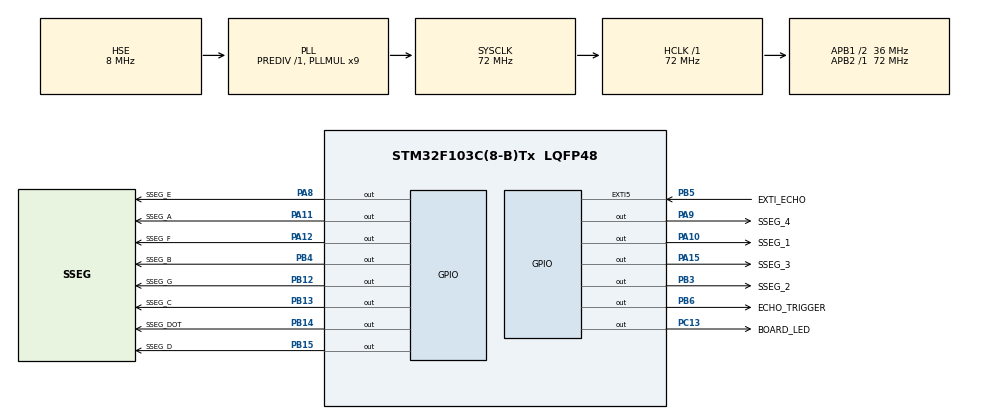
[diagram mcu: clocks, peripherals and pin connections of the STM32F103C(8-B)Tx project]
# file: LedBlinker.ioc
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FREERTOS.Tasks01=defaultTask,0,128,StartDefaultTask,Default,NULL,Dynamic,NULL,NULL
FREERTOS.configUSE_NEWLIB_REENTRANT=1
Mcu.Family=STM32F1
Mcu.Name=STM32F103C(8-B)Tx
Mcu.Package=LQFP48
NVIC.EXTI9_5_IRQn=true\:5\:0\:false\:false\:true\:true\:true\:true\:true
NVIC.PriorityGroup=NVIC_PRIORITYGROUP_4
NVIC.TIM2_IRQn=true\:5\:0\:false\:false\:true\:true\:true\:true\:true
NVIC.TimeBase=TIM1_UP_IRQn
NVIC.TimeBaseIP=TIM1
PA10.GPIO_Label=SSEG_1
PA10.Signal=GPIO_Output
PA11.GPIO_Label=SSEG_A
PA11.Signal=GPIO_Output
PA12.GPIO_Label=SSEG_F
PA12.Signal=GPIO_Output
PA13.GPIO_Label=SYS_JTMS-SWDIO
PA13.Mode=Serial_Wire
PA13.Signal=SYS_JTMS-SWDIO
PA14.Mode=Serial_Wire
PA14.Signal=SYS_JTCK-SWCLK
PA15.GPIO_Label=SSEG_3
PA15.Signal=GPIO_Output
PA8.GPIO_Label=SSEG_E
PA8.Signal=GPIO_Output
PA9.GPIO_Label=SSEG_4
PA9.Signal=GPIO_Output
PB12.GPIO_Label=SSEG_G
PB12.Signal=GPIO_Output
PB13.GPIO_Label=SSEG_C
PB13.Signal=GPIO_Output
PB14.GPIO_Label=SSEG_DOT
PB14.Signal=GPIO_Output
PB15.GPIO_Label=SSEG_D
PB15.Signal=GPIO_Output
PB3.GPIO_Label=SSEG_2
PB3.Signal=GPIO_Output
PB4.GPIO_Label=SSEG_B
PB4.Signal=GPIO_Output
PB5.GPIO_Label=EXTI_ECHO
PB5.GPIO_ModeDefaultEXTI=GPIO_MODE_IT_RISING_FALLING
PB5.Signal=GPXTI5
PB6.GPIO_Label=ECHO_TRIGGER
PB6.Signal=GPIO_Output
PC13-TAMPER-RTC.GPIO_Label=BOARD_LED
PC13-TAMPER-RTC.Signal=GPIO_Output
PC14-OSC32_IN.Mode=LSE-External-Oscillator
PC14-OSC32_IN.Signal=RCC_OSC32_IN
PC15-OSC32_OUT.Mode=LSE-External-Oscillator
PC15-OSC32_OUT.Signal=RCC_OSC32_OUT
PD0-OSC_IN.Mode=HSE-External-Oscillator
PD0-OSC_IN.Signal=RCC_OSC_IN
PD1-OSC_OUT.Mode=HSE-External-Oscillator
PD1-OSC_OUT.Signal=RCC_OSC_OUT
ProjectManager.HeapSize=0x200
ProjectManager.StackSize=0x400
ProjectManager.TargetToolchain=STM32CubeIDE
RCC.AHBFreq_Value=72000000
RCC.APB1CLKDivider=RCC_HCLK_DIV2
RCC.APB1Freq_Value=36000000
RCC.APB1TimFreq_Value=72000000
RCC.APB2Freq_Value=72000000
RCC.APB2TimFreq_Value=72000000
RCC.HCLKFreq_Value=72000000
RCC.PLLMUL=RCC_PLL_MUL9
RCC.PLLSourceVirtual=RCC_PLLSOURCE_HSE
RCC.RTCClockSelection=RCC_RTCCLKSOURCE_LSE
RCC.SYSCLKFreq_VALUE=72000000
RCC.SYSCLKSource=RCC_SYSCLKSOURCE_PLLCLK
RCC.USBFreq_Value=72000000
VP_FREERTOS_VS_CMSIS_V1.Mode=CMSIS_V1
VP_RTC_No_RTC_Output.Mode=RTC_OUT_NO
VP_RTC_VS_RTC_Activate.Mode=RTC_Enabled
VP_SYS_VS_tim1.Mode=TIM1
VP_TIM2_VS_ClockSourceINT.Mode=Internal
VP_TIM2_VS_OPM.Mode=OPM_bit
board=custom

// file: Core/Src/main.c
/* USER CODE BEGIN Header */
/**
  ******************************************************************************
  * @file           : main.c
  * @brief          : Main program body
  ******************************************************************************
  * @attention
  *
  * Copyright (c) 2023 STMicroelectronics.
  * All rights reserved.
  *
  * This software is licensed under terms that can be found in the LICENSE file
  * in the root directory of this software component.
  * If no LICENSE file comes with this software, it is provided AS-IS.
  *
  ******************************************************************************
  */
/* USER CODE END Header */
#include "main.h"
#include "cmsis_os.h"
#include "math.h"

RTC_HandleTypeDef hrtc;

TIM_HandleTypeDef htim2;

osThreadId defaultTaskHandle;

void SystemClock_Config(void);
static void MX_GPIO_Init(void);
static void MX_RTC_Init(void);
static void MX_TIM2_Init(void);
void StartDefaultTask(void const * argument);

/* USER CODE BEGIN 0 */
enum segments
{
	segA,
	segB,
	segC,
	segD,
	segE,
	segF,
	segG,
	segP
};

uint32_t echoCounter = 0;

uint8_t SnakeAnimationArray [] = {
	0b01000011,
	0b01010010,
	0b01011000,
	0b00011100,
	0b01001100,
	0b01100100,
	0b01100001,
};

uint8_t SsegNumbersArray [] = {
	0b00111111, // 0
	0b00000110, // 1
	0b01011011, // 2
	0b01001111, // 3
	0b01100110, // 4
	0b01101101, // 5
	0b01111101, // 6
	0b00000111, // 7
	0b01111111, // 8
	0b01101111, // 9
};

uint8_t currentFrame [4] = {0, 0, 0, 0};

void SetSegment (uint8_t numOfSegment, GPIO_PinState state)
{
	GPIO_PinState pinAction;
	if (state == 0)
	{
		pinAction = GPIO_PIN_RESET;
	}
	else
	{
		pinAction = GPIO_PIN_SET;
	}

	switch (numOfSegment)
	{
		case 1:
			HAL_GPIO_WritePin(SSEG_A_GPIO_Port, SSEG_A_Pin, pinAction);
			break;
		case 2:
			HAL_GPIO_WritePin(SSEG_B_GPIO_Port, SSEG_B_Pin, pinAction);
			break;
		case 3:
			HAL_GPIO_WritePin(SSEG_C_GPIO_Port, SSEG_C_Pin, pinAction);
			break;
		case 4:
			HAL_GPIO_WritePin(SSEG_D_GPIO_Port, SSEG_D_Pin, pinAction);
			break;
		case 5:
			HAL_GPIO_WritePin(SSEG_E_GPIO_Port, SSEG_E_Pin, pinAction);
			break;
		case 6:
			HAL_GPIO_WritePin(SSEG_F_GPIO_Port, SSEG_F_Pin, pinAction);
			break;
		case 7:
			HAL_GPIO_WritePin(SSEG_G_GPIO_Port, SSEG_G_Pin, pinAction);
			break;
		case 8:
			HAL_GPIO_WritePin(SSEG_DOT_GPIO_Port, SSEG_DOT_Pin, pinAction);
			break;
		default:
			break;
	}
}

void SetFrame (uint8_t frameNum, uint8_t frame)
{
  HAL_GPIO_WritePin(SSEG_1_GPIO_Port, SSEG_1_Pin, 1);
  HAL_GPIO_WritePin(SSEG_2_GPIO_Port, SSEG_2_Pin, 1);
  HAL_GPIO_WritePin(SSEG_3_GPIO_Port, SSEG_3_Pin, 1);
  HAL_GPIO_WritePin(SSEG_4_GPIO_Port, SSEG_4_Pin, 1);

   switch(frameNum)
   {
     case 0:
       HAL_GPIO_WritePin(SSEG_1_GPIO_Port, SSEG_1_Pin, 0);
       break;
     case 1:
       HAL_GPIO_WritePin(SSEG_2_GPIO_Port, SSEG_2_Pin, 0);
       break;
     case 2:
       HAL_GPIO_WritePin(SSEG_3_GPIO_Port, SSEG_3_Pin, 0);
       break;
     case 3:
       HAL_GPIO_WritePin(SSEG_4_GPIO_Port, SSEG_4_Pin, 0);
       break;
     default:
       break;
   }
	 for (uint8_t i = 0; i < 8; i++)
	 {
	 	SetSegment(8 - i, ((frame >> (7 - i)) & 0x01));
	 }
}

void ssegOutputTask (void* pvParameters)
{
  uint8_t Frame = 0;
	for(;;)
	{
    SetFrame(Frame, currentFrame[Frame]);
    Frame++;
    if (Frame == 4)
    {
    	Frame = 0;
    }

    vTaskDelay((3 / portTICK_PERIOD_MS));
	}
}

void framesUpdateTask (void* pvParameters)
{
	uint8_t numOfFrame = 0;
	for(;;)
	{
    uint32_t tmp = echoCounter;
    for(uint8_t i = 0; i < 4; i++)
    {
      currentFrame[i] = tmp % 10;
      tmp /= 10;
    }
    numOfFrame++;
    if (numOfFrame == sizeof(SsegNumbersArray))
    {
      numOfFrame = 0;
    }
		vTaskDelay((1000 / portTICK_PERIOD_MS));
	}
}

void HAL_GPIO_EXTI_Callback(uint16_t GPIO_Pin)
{
  if(HAL_GPIO_ReadPin(EXTI_ECHO_GPIO_Port, EXTI_ECHO_Pin))
  {
    __TIM2_CLK_ENABLE();
    TIM2 -> CNT = 0;
  }
  else
  {
    echoCounter = TIM2 -> CNT;
    TIM2 -> CNT = 0;
    __TIM2_CLK_DISABLE();
  }
}

/* USER CODE END 0 */

int main(void)
{

  /* MCU Configuration--------------------------------------------------------*/

  /* Reset of all peripherals, Initializes the Flash interface and the Systick. */
  HAL_Init();

  /* Configure the system clock */
  SystemClock_Config();

  /* Initialize all configured peripherals */
  MX_GPIO_Init();
  MX_RTC_Init();
  MX_TIM2_Init();

  /* Create the thread(s) */
  /* definition and creation of defaultTask */
  osThreadDef(defaultTask, StartDefaultTask, osPriorityNormal, 0, 128);
  defaultTaskHandle = osThreadCreate(osThread(defaultTask), NULL);

  /* USER CODE BEGIN RTOS_THREADS */
  xTaskCreate(ssegOutputTask, "LED", configMINIMAL_STACK_SIZE, NULL, 2, NULL);
  xTaskCreate(framesUpdateTask, "LED", configMINIMAL_STACK_SIZE, NULL, 2, NULL);
  /* add threads, ... */
  /* USER CODE END RTOS_THREADS */

  /* Start scheduler */
  SetFrame(1, 0xFF);
  osKernelStart();

  /* We should never get here as control is now taken by the scheduler */
  /* Infinite loop */
  while (1)
  {

  }
}

void SystemClock_Config(void)
{
  RCC_OscInitTypeDef RCC_OscInitStruct = {0};
  RCC_ClkInitTypeDef RCC_ClkInitStruct = {0};
  RCC_PeriphCLKInitTypeDef PeriphClkInit = {0};

  /** Initializes the RCC Oscillators according to the specified parameters
  * in the RCC_OscInitTypeDef structure.
  */
  RCC_OscInitStruct.OscillatorType = RCC_OSCILLATORTYPE_HSE|RCC_OSCILLATORTYPE_LSE;
  RCC_OscInitStruct.HSEState = RCC_HSE_ON;
  RCC_OscInitStruct.HSEPredivValue = RCC_HSE_PREDIV_DIV1;
  RCC_OscInitStruct.LSEState = RCC_LSE_ON;
  RCC_OscInitStruct.HSIState = RCC_HSI_ON;
  RCC_OscInitStruct.PLL.PLLState = RCC_PLL_ON;
  RCC_OscInitStruct.PLL.PLLSource = RCC_PLLSOURCE_HSE;
  RCC_OscInitStruct.PLL.PLLMUL = RCC_PLL_MUL9;
  if (HAL_RCC_OscConfig(&RCC_OscInitStruct) != HAL_OK)
  {
    Error_Handler();
  }

  /** Initializes the CPU, AHB and APB buses clocks
  */
  RCC_ClkInitStruct.ClockType = RCC_CLOCKTYPE_HCLK|RCC_CLOCKTYPE_SYSCLK
                              |RCC_CLOCKTYPE_PCLK1|RCC_CLOCKTYPE_PCLK2;
  RCC_ClkInitStruct.SYSCLKSource = RCC_SYSCLKSOURCE_PLLCLK;
  RCC_ClkInitStruct.AHBCLKDivider = RCC_SYSCLK_DIV1;
  RCC_ClkInitStruct.APB1CLKDivider = RCC_HCLK_DIV2;
  RCC_ClkInitStruct.APB2CLKDivider = RCC_HCLK_DIV1;

  if (HAL_RCC_ClockConfig(&RCC_ClkInitStruct, FLASH_LATENCY_2) != HAL_OK)
  {
    Error_Handler();
  }
  PeriphClkInit.PeriphClockSelection = RCC_PERIPHCLK_RTC;
  PeriphClkInit.RTCClockSelection = RCC_RTCCLKSOURCE_LSE;
  if (HAL_RCCEx_PeriphCLKConfig(&PeriphClkInit) != HAL_OK)
  {
    Error_Handler();
  }
}

static void MX_RTC_Init(void)
{

  RTC_TimeTypeDef sTime = {0};
  RTC_DateTypeDef DateToUpdate = {0};

  /** Initialize RTC Only
  */
  hrtc.Instance = RTC;
  hrtc.Init.AsynchPrediv = RTC_AUTO_1_SECOND;
  hrtc.Init.OutPut = RTC_OUTPUTSOURCE_NONE;
  if (HAL_RTC_Init(&hrtc) != HAL_OK)
  {
    Error_Handler();
  }

  /** Initialize RTC and set the Time and Date
  */
  sTime.Hours = 0x0;
  sTime.Minutes = 0x0;
  sTime.Seconds = 0x0;

  if (HAL_RTC_SetTime(&hrtc, &sTime, RTC_FORMAT_BCD) != HAL_OK)
  {
    Error_Handler();
  }
  DateToUpdate.WeekDay = RTC_WEEKDAY_MONDAY;
  DateToUpdate.Month = RTC_MONTH_JANUARY;
  DateToUpdate.Date = 0x1;
  DateToUpdate.Year = 0x0;

  if (HAL_RTC_SetDate(&hrtc, &DateToUpdate, RTC_FORMAT_BCD) != HAL_OK)
  {
    Error_Handler();
  }

}

static void MX_TIM2_Init(void)
{

  TIM_ClockConfigTypeDef sClockSourceConfig = {0};
  TIM_MasterConfigTypeDef sMasterConfig = {0};

  htim2.Instance = TIM2;
  htim2.Init.Prescaler = 0;
  htim2.Init.CounterMode = TIM_COUNTERMODE_UP;
  htim2.Init.Period = 65535;
  htim2.Init.ClockDivision = TIM_CLOCKDIVISION_DIV1;
  htim2.Init.AutoReloadPreload = TIM_AUTORELOAD_PRELOAD_DISABLE;
  if (HAL_TIM_Base_Init(&htim2) != HAL_OK)
  {
    Error_Handler();
  }
  sClockSourceConfig.ClockSource = TIM_CLOCKSOURCE_INTERNAL;
  if (HAL_TIM_ConfigClockSource(&htim2, &sClockSourceConfig) != HAL_OK)
  {
    Error_Handler();
  }
  if (HAL_TIM_OnePulse_Init(&htim2, TIM_OPMODE_SINGLE) != HAL_OK)
  {
    Error_Handler();
  }
  sMasterConfig.MasterOutputTrigger = TIM_TRGO_RESET;
  sMasterConfig.MasterSlaveMode = TIM_MASTERSLAVEMODE_DISABLE;
  if (HAL_TIMEx_MasterConfigSynchronization(&htim2, &sMasterConfig) != HAL_OK)
  {
    Error_Handler();
  }

}

static void MX_GPIO_Init(void)
{
  GPIO_InitTypeDef GPIO_InitStruct = {0};

  /* GPIO Ports Clock Enable */
  __HAL_RCC_GPIOC_CLK_ENABLE();
  __HAL_RCC_GPIOD_CLK_ENABLE();
  __HAL_RCC_GPIOB_CLK_ENABLE();
  __HAL_RCC_GPIOA_CLK_ENABLE();

  /*Configure GPIO pin Output Level */
  HAL_GPIO_WritePin(BOARD_LED_GPIO_Port, BOARD_LED_Pin, GPIO_PIN_RESET);

  /*Configure GPIO pin Output Level */
  HAL_GPIO_WritePin(GPIOB, SSEG_G_Pin|SSEG_C_Pin|SSEG_DOT_Pin|SSEG_D_Pin
                          |SSEG_2_Pin|SSEG_B_Pin|ECHO_TRIGGER_Pin, GPIO_PIN_RESET);

  /*Configure GPIO pin Output Level */
  HAL_GPIO_WritePin(GPIOA, SSEG_E_Pin|SSEG_4_Pin|SSEG_1_Pin|SSEG_A_Pin
                          |SSEG_F_Pin|SSEG_3_Pin, GPIO_PIN_RESET);

  /*Configure GPIO pin : BOARD_LED_Pin */
  GPIO_InitStruct.Pin = BOARD_LED_Pin;
  GPIO_InitStruct.Mode = GPIO_MODE_OUTPUT_PP;
  GPIO_InitStruct.Pull = GPIO_NOPULL;
  GPIO_InitStruct.Speed = GPIO_SPEED_FREQ_LOW;
  HAL_GPIO_Init(BOARD_LED_GPIO_Port, &GPIO_InitStruct);

  /*Configure GPIO pins : SSEG_G_Pin SSEG_C_Pin SSEG_DOT_Pin SSEG_D_Pin
                           SSEG_2_Pin SSEG_B_Pin ECHO_TRIGGER_Pin */
  GPIO_InitStruct.Pin = SSEG_G_Pin|SSEG_C_Pin|SSEG_DOT_Pin|SSEG_D_Pin
                          |SSEG_2_Pin|SSEG_B_Pin|ECHO_TRIGGER_Pin;
  GPIO_InitStruct.Mode = GPIO_MODE_OUTPUT_PP;
  GPIO_InitStruct.Pull = GPIO_NOPULL;
  GPIO_InitStruct.Speed = GPIO_SPEED_FREQ_LOW;
  HAL_GPIO_Init(GPIOB, &GPIO_InitStruct);

  /*Configure GPIO pins : SSEG_E_Pin SSEG_4_Pin SSEG_1_Pin SSEG_A_Pin
                           SSEG_F_Pin SSEG_3_Pin */
  GPIO_InitStruct.Pin = SSEG_E_Pin|SSEG_4_Pin|SSEG_1_Pin|SSEG_A_Pin
                          |SSEG_F_Pin|SSEG_3_Pin;
  GPIO_InitStruct.Mode = GPIO_MODE_OUTPUT_PP;
  GPIO_InitStruct.Pull = GPIO_NOPULL;
  GPIO_InitStruct.Speed = GPIO_SPEED_FREQ_LOW;
  HAL_GPIO_Init(GPIOA, &GPIO_InitStruct);

  /*Configure GPIO pin : EXTI_ECHO_Pin */
  GPIO_InitStruct.Pin = EXTI_ECHO_Pin;
  GPIO_InitStruct.Mode = GPIO_MODE_IT_RISING_FALLING;
  GPIO_InitStruct.Pull = GPIO_NOPULL;
  HAL_GPIO_Init(EXTI_ECHO_GPIO_Port, &GPIO_InitStruct);

  /* EXTI interrupt init*/
  HAL_NVIC_SetPriority(EXTI9_5_IRQn, 5, 0);
  HAL_NVIC_EnableIRQ(EXTI9_5_IRQn);

}

void StartDefaultTask(void const * argument)
{
  for(;;)
  {
    osDelay(1);
  }
}

void HAL_TIM_PeriodElapsedCallback(TIM_HandleTypeDef *htim)
{
  if (htim->Instance == TIM1) {
    HAL_IncTick();
  }
}

void Error_Handler(void)
{
  __disable_irq();
  while (1)
  {
  }
}
